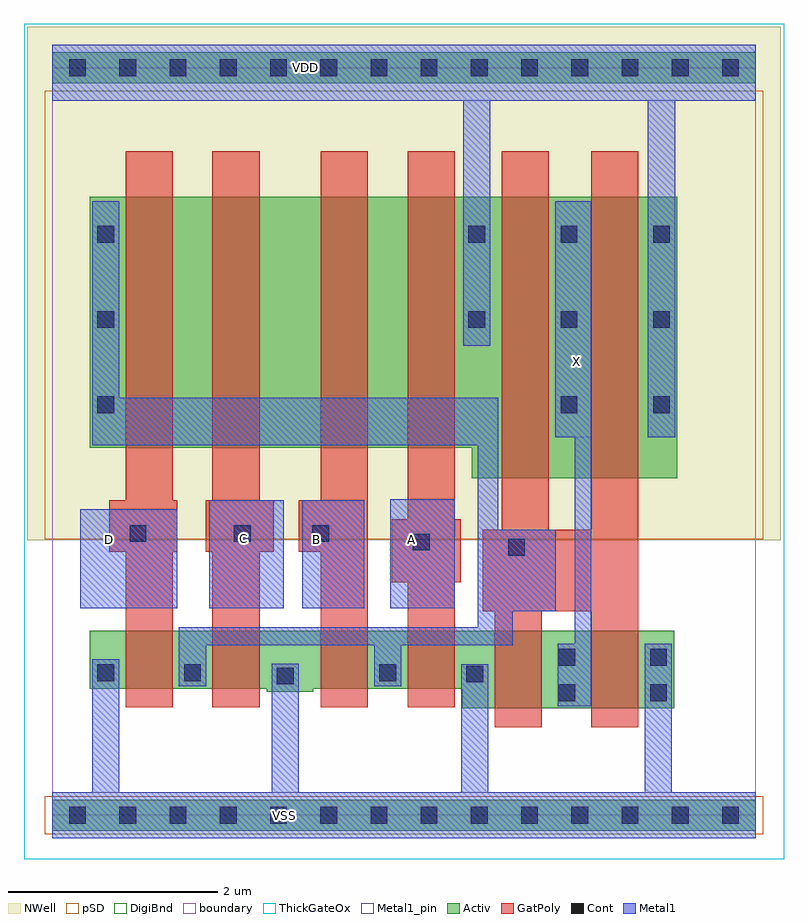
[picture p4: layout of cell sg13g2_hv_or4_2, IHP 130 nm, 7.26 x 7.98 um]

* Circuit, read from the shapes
.subckt sg13g2_hv_or4_2 A B C D VDD VSS X
XM1 n1 D VSS VSS sg13_hv_nmos w=0.55u l=0.45u
XM2 VSS C n1 VSS sg13_hv_nmos w=0.55u l=0.45u
XM3 n1 B VSS VSS sg13_hv_nmos w=0.55u l=0.45u
XM4 VSS A n1 VSS sg13_hv_nmos w=0.55u l=0.45u
XM5 X n1 VSS VSS sg13_hv_nmos w=0.74u l=0.45u m=2
XM6 n2 D n1 VDD sg13_hv_pmos w=2.4u l=0.45u
XM7 n3 C n2 VDD sg13_hv_pmos w=2.4u l=0.45u
XM8 n4 B n3 VDD sg13_hv_pmos w=2.4u l=0.45u
XM9 VDD A n4 VDD sg13_hv_pmos w=2.4u l=0.45u
XM10 X n1 VDD VDD sg13_hv_pmos w=2.69u l=0.45u m=2
.ends

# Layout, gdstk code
import gdstk
lib = gdstk.Library(unit=1e-6, precision=1e-09)
def R(c, l, rs):  # rectangles x0, y0, x1, y1
    for r in rs: c.add(gdstk.rectangle(r[:2], r[2:], *l))
def A(c, l, x, y, w, h, nx, ny, dx, dy):  # array of equal rectangles
    R(c, l, [(x+i*dx, y+j*dy, x+i*dx+w, y+j*dy+h) for i in range(nx) for j in range(ny)])
def P(c, l, *ps):  # polygons
    for p in ps: c.add(gdstk.Polygon(p, *l))
Activ = (1, 0)
GatPoly = (5, 0)
Cont = (6, 0)
Metal1 = (8, 0)
Metal1_pin = (8, 2)
pSD = (14, 0)
DigiBnd = (16, 0)
NWell = (31, 0)
ThickGateOx = (44, 0)
boundary = (189, 4)

sg13g2_hv_or4_2 = lib.new_cell('sg13g2_hv_or4_2')
R(sg13g2_hv_or4_2, Activ, [(0,-0.15,6.72,0.15), (0,6.99,6.72,7.29)])
P(sg13g2_hv_or4_2, Activ, [(3.915,1.02),(3.915,1.21),(2.495,1.21),(2.495,1.18),(2.05,1.18),(2.05,1.21),(0.36,1.21),(0.36,1.76),(5.94,1.76),(5.94,1.02)],
  [(4.005,3.22),(4.005,3.51),(0.36,3.51),(0.36,5.91),(5.97,5.91),(5.97,3.22)])
R(sg13g2_hv_or4_2, GatPoly, [(5.15,0.84,5.6,1.95), (4.81,1.95,5.6,2.725), (5.15,2.715,5.6,2.765), (5.15,2.765,5.6,6.345)])
P(sg13g2_hv_or4_2, GatPoly, [(1.53,1.03),(1.53,2.515),(1.465,2.515),(1.465,3.01),(1.53,3.01),(1.53,6.345),(1.98,6.345),(1.98,3.01),(2.115,3.01),(2.115,2.515),(1.98,2.515),(1.98,1.03)],
  [(4.225,0.84),(4.225,1.95),(4.11,1.95),(4.11,2.725),(4.295,2.725),(4.295,6.345),(4.745,6.345),(4.745,2.725),(4.81,2.725),(4.81,1.95),(4.675,1.95),(4.675,0.84)],
  [(2.565,1.03),(2.565,2.515),(2.355,2.515),(2.355,3.01),(2.565,3.01),(2.565,6.345),(3.015,6.345),(3.015,1.03)],
  [(3.395,1.03),(3.395,2.225),(3.245,2.225),(3.245,2.825),(3.395,2.825),(3.395,6.345),(3.845,6.345),(3.845,2.825),(3.9,2.825),(3.9,2.225),(3.845,2.225),(3.845,1.03)],
  [(0.7,1.03),(0.7,2.515),(0.545,2.515),(0.545,3.01),(0.7,3.01),(0.7,6.345),(1.15,6.345),(1.15,3.01),(1.195,3.01),(1.195,2.515),(1.15,2.515),(1.15,1.03)])
A(sg13g2_hv_or4_2, Cont, 0.16, -0.08, 0.16, 0.16, 14, 2, 0.48, 7.14)
A(sg13g2_hv_or4_2, Cont, 0.43, 3.84, 0.16, 0.16, 1, 3, 0, 0.815)
A(sg13g2_hv_or4_2, Cont, 4.855, 3.84, 0.16, 0.16, 1, 3, 0, 0.815)
A(sg13g2_hv_or4_2, Cont, 5.74, 3.84, 0.16, 0.16, 1, 3, 0, 0.815)
R(sg13g2_hv_or4_2, Cont, [(4.835,1.09,4.995,1.25), (5.71,1.09,5.87,1.25), (2.145,1.25,2.305,1.41), (3.955,1.27,4.115,1.43), (0.43,1.28,0.59,1.44), (1.26,1.28,1.42,1.44), (3.125,1.28,3.285,1.44), (4.835,1.43,4.995,1.59), (5.71,1.43,5.87,1.59), (4.355,2.48,4.515,2.64), (3.445,2.53,3.605,2.69), (0.74,2.61,0.9,2.77), (1.735,2.61,1.895,2.77), (2.485,2.61,2.645,2.77), (3.975,4.655,4.135,4.815), (3.975,5.47,4.135,5.63)])
R(sg13g2_hv_or4_2, Metal1, [(0.265,1.975,1.195,2.925), (1.5,1.975,2.21,3.01), (2.39,1.975,2.98,3.01), (3.23,1.975,3.845,3.02)])
P(sg13g2_hv_or4_2, Metal1, [(0,-0.22),(0,0.22),(0.38,0.22),(0.38,1.49),(0.64,1.49),(0.64,0.22),(2.095,0.22),(2.095,1.445),(2.355,1.445),(2.355,0.22),(3.905,0.22),(3.905,1.44),(4.165,1.44),(4.165,0.22),(5.66,0.22),(5.66,1.64),(5.92,1.64),(5.92,0.22),(6.72,0.22),(6.72,-0.22)],
  [(1.21,1.23),(1.21,1.795),(4.065,1.795),(4.065,3.535),(0.38,3.535),(0.38,5.865),(0.64,5.865),(0.64,3.99),(4.26,3.99),(4.26,2.725),(4.81,2.725),(4.81,1.95),(4.4,1.95),(4.4,1.625),(3.335,1.625),(3.335,1.23),(3.075,1.23),(3.075,1.625),(1.47,1.625),(1.47,1.23)],
  [(4.83,1.04),(4.83,1.64),(4.99,1.64),(4.99,3.61),(4.805,3.61),(4.805,5.865),(5.15,5.865),(5.15,1.04)],
  [(5.69,3.61),(5.69,6.825),(4.185,6.825),(4.185,4.485),(3.925,4.485),(3.925,6.825),(0,6.825),(0,7.36),(6.72,7.36),(6.72,6.825),(5.95,6.825),(5.95,3.61)])
R(sg13g2_hv_or4_2, Metal1_pin, [(0,-0.22,6.72,0.22), (0.265,1.975,1.195,2.925), (1.5,1.975,2.21,3.01), (2.39,1.975,2.98,3.01), (3.23,1.975,3.845,3.02), (4.805,3.61,5.15,5.865), (0,6.825,6.72,7.36)])
R(sg13g2_hv_or4_2, pSD, [(-0.07,-0.18,6.79,0.18), (-0.07,2.635,6.79,6.92)])
R(sg13g2_hv_or4_2, DigiBnd, [(0,0,6.72,7.14)])
R(sg13g2_hv_or4_2, NWell, [(-0.24,2.625,6.96,7.53)])
R(sg13g2_hv_or4_2, ThickGateOx, [(-0.27,-0.42,6.99,7.56)])
R(sg13g2_hv_or4_2, boundary, [(0,0,6.72,7.14)])
sg13g2_hv_or4_2.add(gdstk.Label('X', (5.01,4.33), layer=8, texttype=25))
sg13g2_hv_or4_2.add(gdstk.Label('C', (1.825,2.64), layer=8, texttype=25))
sg13g2_hv_or4_2.add(gdstk.Label('D', (0.55,2.635), layer=8, texttype=25))
sg13g2_hv_or4_2.add(gdstk.Label('VDD', (2.42,7.14), layer=8, texttype=25))
sg13g2_hv_or4_2.add(gdstk.Label('VSS', (2.215,-0.005), layer=8, texttype=25))
sg13g2_hv_or4_2.add(gdstk.Label('A', (3.43,2.63), layer=8, texttype=25))
sg13g2_hv_or4_2.add(gdstk.Label('B', (2.525,2.63), layer=8, texttype=25))

lib.write_gds('sg13g2_hv_or4_2.gds')
